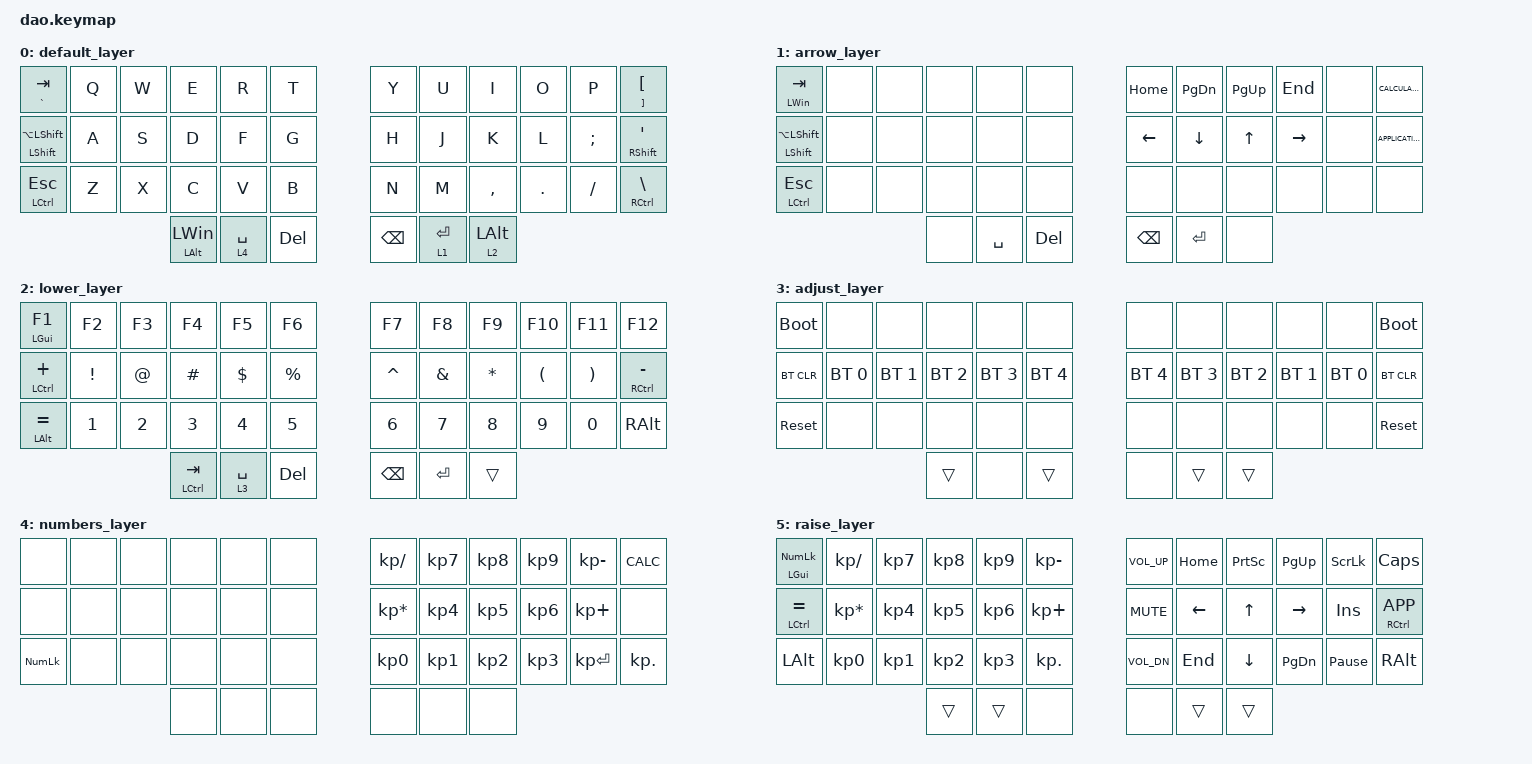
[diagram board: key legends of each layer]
/*
 * Copyright (c) 2021 Rafael Yumagulov
 *
 * SPDX-License-Identifier: MIT
 */

#include <behaviors.dtsi>
#include <dt-bindings/zmk/bt.h>
#include <dt-bindings/zmk/keys.h>

#define DEF 0
#define LWR 1
#define RSE 2
#define ADJ 3

&lt {
    quick_tap_ms = <200>;
};

&mt {
    quick_tap_ms = <200>;
};

/ {
    chosen {
        zmk,matrix_transform = &default_transform;

        // zmk,matrix_transform = &extra_keys_transform;
    };
};

/ {
    combos {
        compatible = "zmk,combos";

        new_combo {
            bindings = <&kp LG(L)>;
            key-positions = <19 20 21>;
            slow-release;
            layers = <0>;
        };
    };

    keymap {
        compatible = "zmk,keymap";

        L0 {
            bindings = <
       &mt GRAVE TAB  &kp Q  &kp W                  &kp E        &kp R    &kp T     &kp Y        &kp U           &kp I    &kp O     &kp P  &mt RIGHT_BRACKET LEFT_BRACKET
&mt LSHIFT LA(LSHFT)  &kp A  &kp S                  &kp D        &kp F    &kp G     &kp H        &kp J           &kp K    &kp L  &kp SEMI                  &mt RSHIFT SQT
    &mt LCTRL ESCAPE  &kp Z  &kp X                  &kp C        &kp V    &kp B     &kp N        &kp M       &kp COMMA  &kp DOT  &kp FSLH                  &mt RCTRL BSLH
                                    &mt LEFT_ALT LEFT_WIN  &lt 4 SPACE  &kp DEL  &kp BSPC  &lt 1 ENTER  &lt 2 LEFT_ALT
            >;

            label = "default_layer";
        };

        L1 {
            bindings = <
             &mt LEFT_WIN TAB  &none  &none  &none      &none       &none       &kp HOME  &kp PG_DN  &kp PG_UP    &kp END  &none   &kp K_CALCULATOR
&mt LEFT_SHIFT LA(LEFT_SHIFT)  &none  &none  &none      &none       &none       &kp LEFT   &kp DOWN     &kp UP  &kp RIGHT  &none  &kp K_APPLICATION
             &mt LCTRL ESCAPE  &none  &none  &none      &none       &none          &none      &none      &none      &none  &none              &none
                                             &none  &kp SPACE  &kp DELETE  &kp BACKSPACE  &kp ENTER      &none
            >;

            label = "arrow_layer";
        };

        L2 {
            bindings = <
   &mt LGUI F1    &kp F2  &kp F3                &kp F4       &kp F5     &kp F6     &kp F7     &kp F8    &kp F9   &kp F10   &kp F11          &kp F12
&mt LCTRL PLUS  &kp EXCL  &kp AT              &kp HASH     &kp DLLR  &kp PRCNT  &kp CARET   &kp AMPS  &kp STAR  &kp LPAR  &kp RPAR  &mt RCTRL MINUS
&mt LALT EQUAL    &kp N1  &kp N2                &kp N3       &kp N4     &kp N5     &kp N6     &kp N7    &kp N8    &kp N9    &kp N0         &kp RALT
                                  &mt LEFT_CONTROL TAB  &lt 3 SPACE    &kp DEL   &kp BSPC  &kp ENTER    &trans
            >;

            label = "lower_layer";
        };

        L3 {
            bindings = <
&bootloader         &none         &none         &none         &none         &none         &none         &none         &none         &none         &none  &bootloader
 &bt BT_CLR  &bt BT_SEL 0  &bt BT_SEL 1  &bt BT_SEL 2  &bt BT_SEL 3  &bt BT_SEL 4  &bt BT_SEL 4  &bt BT_SEL 3  &bt BT_SEL 2  &bt BT_SEL 1  &bt BT_SEL 0   &bt BT_CLR
 &sys_reset         &none         &none         &none         &none         &none         &none         &none         &none         &none         &none   &sys_reset
                                               &trans         &none        &trans         &none        &trans        &trans
            >;

            label = "adjust_layer";
        };

        numbers_layer {
            bindings = <
         &none  &none  &none  &none  &none  &none     &kp KP_SLASH        &kp KP_N7        &kp KP_N8        &kp KP_N9  &kp KP_MINUS  &kp K_CALC
         &none  &none  &none  &none  &none  &none  &kp KP_MULTIPLY  &kp KP_NUMBER_4  &kp KP_NUMBER_5  &kp KP_NUMBER_6   &kp KP_PLUS       &none
&kp KP_NUMLOCK  &none  &none  &none  &none  &none  &kp KP_NUMBER_0  &kp KP_NUMBER_1  &kp KP_NUMBER_2  &kp KP_NUMBER_3  &kp KP_ENTER  &kp KP_DOT
                              &none  &none  &none            &none            &none            &none
            >;
        };

        raise_layer {
            bindings = <
&mt LGUI KP_NUM     &kp KP_SLASH  &kp KP_N7  &kp KP_N8  &kp KP_N9  &kp KP_MINUS  &kp C_VOL_UP  &kp HOME  &kp PSCRN  &kp PG_UP         &kp SLCK         &kp CLCK
&mt LCTRL EQUAL  &kp KP_MULTIPLY  &kp KP_N4  &kp KP_N5  &kp KP_N6   &kp KP_PLUS    &kp C_MUTE  &kp LEFT     &kp UP  &kp RIGHT          &kp INS  &mt RCTRL K_APP
       &kp LALT        &kp KP_N0  &kp KP_N1  &kp KP_N2  &kp KP_N3    &kp KP_DOT  &kp C_VOL_DN   &kp END   &kp DOWN  &kp PG_DN  &kp PAUSE_BREAK         &kp RALT
                                                &trans     &trans         &none         &none    &trans     &trans
            >;
        };
    };
};
